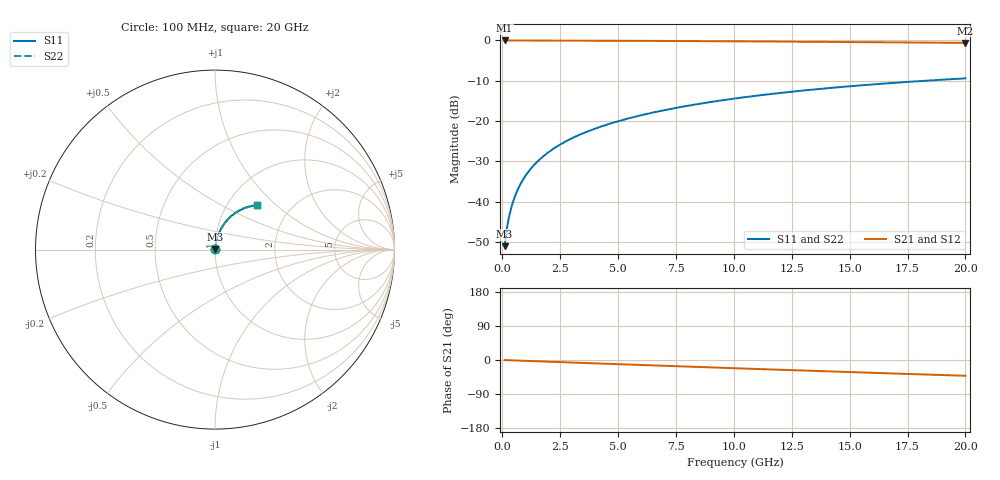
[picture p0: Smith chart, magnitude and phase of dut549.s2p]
! Touchstone file exported from HFSS 2026.1.0
!  File:  C:/ffzhzh/LocalFiles/Ansys_Project_Files/temp_train_BSMRDL_549_1783015108_55676.aedt
!  Generated:  02:00:04 AM Jul  3, 2026
!  Design:  BSMRDL
!  Project:  temp_train_BSMRDL_549_1783015108_55676
! Variables:
!  h_bsmrdl = 5.89um
!  h_ox = 20um
!  h_rdl = 5um
!  h_sub = 80um
!  h_tmrdl = 5um
!  h_tsv = 80um
!  h_via = 3um
!  l_bsmrdl = 635.85um
!  l_sub = 1035.85um
!  l_tmrdl = 200um
!  m_sub = 200um
!  pitch = 52.43um
!  r_tsv = 6um
!  s_tmrdl = 10um
!  w_bsmrdl = 25.78um
!  w_sub = 500um
!  w_tmrdl = 12um
!  x_tsv_center1 = 206um
!  x_tsv_center2 = 867.63um
!  x_tsv_center3 = 1079.63um
!  x_tsv_center4 = 1741.26um
!  x_tsv_center5 = 1953.26um
!  x_tsv_center6 = 2614.89um
# GHz S MA R 50.000000
! Terminal data exported
! Port[1] = BSM_RDL1_1_T1
! Port[2] = BSM_RDL1_1_T2
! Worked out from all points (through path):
!   200 points, 100 MHz to 20 GHz, reference 50 ohm
!   highest |S21| = -0.01 dB at 100 MHz (marker M1); lowest = -0.6 dB at 20 GHz (marker M2)
!   group delay of S21, straight-line fit = 5.78 ps
!   lowest |S11| = -51.0 dB at 100 MHz (marker M3), VSWR 1.01, Z = 50.2 + j0.226 ohm
!   |S11| at or under -10 dB: start of sweep to 18.27 GHz
!   |S22| runs from -51.0 to -9.4 dB; largest |S21 - S12| = 2.7e-15
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0.1  0.002815 53.2  0.9983 -0.2  0.9983 -0.2  0.002815 53.2
! Gamma 0 0 0 0
! Port Impedance 50 0 50 0
0.2  0.004733 67.0  0.9982 -0.5  0.9982 -0.5  0.004733 67.0
0.3  0.006704 72.8  0.9981 -0.7  0.9981 -0.7  0.006704 72.8
0.4  0.008705 76.1  0.998 -0.9  0.998 -0.9  0.008705 76.1
0.5  0.01073 78.1  0.9979 -1.1  0.9979 -1.1  0.01073 78.1
0.7  0.01481 80.3  0.9978 -1.6  0.9978 -1.6  0.01481 80.3
0.8  0.01685 80.9  0.9977 -1.8  0.9977 -1.8  0.01685 80.9
1  0.02095 81.6  0.9975 -2.3  0.9975 -2.3  0.02095 81.6
1.2  0.02504 81.8  0.9973 -2.7  0.9973 -2.7  0.02504 81.8
1.4  0.02912 81.9  0.9971 -3.2  0.9971 -3.2  0.02912 81.9
1.7  0.03521 81.7  0.9967 -3.8  0.9967 -3.8  0.03521 81.7
2  0.04125 81.4  0.9962 -4.5  0.9962 -4.5  0.04125 81.4
2.7  0.05517 80.3  0.9949 -6.0  0.9949 -6.0  0.05517 80.3
3.5  0.07081 78.9  0.9933 -7.8  0.9933 -7.8  0.07081 78.9
4.2  0.08428 77.5  0.9918 -9.3  0.9918 -9.3  0.08428 77.5
5  0.09948 76.0  0.9899 -11.0  0.9899 -11.0  0.09948 76.0
6.8  0.1329 72.5  0.9851 -14.9  0.9851 -14.9  0.1329 72.5
8.3  0.16 69.5  0.9804 -18.1  0.9804 -18.1  0.16 69.5
10.1  0.1914 66.0  0.9742 -21.8  0.9742 -21.8  0.1914 66.0
13.4  0.2456 59.5  0.9612 -28.6  0.9612 -28.6  0.2456 59.5
16.7  0.2947 53.1  0.9467 -35.2  0.9467 -35.2  0.2947 53.1
20  0.3384 46.8  0.9317 -41.6  0.9317 -41.6  0.3384 46.8
